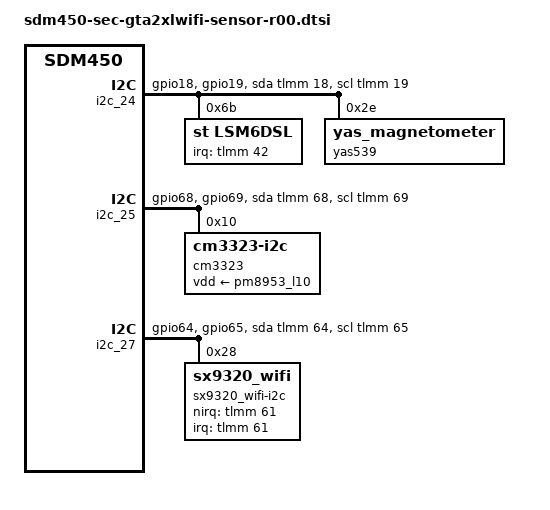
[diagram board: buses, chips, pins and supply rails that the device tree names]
/* Copyright (c) 2017, The Linux Foundation. All rights reserved.
 *
 * This program is free software; you can redistribute it and/or modify
 * it under the terms of the GNU General Public License version 2 and
 * only version 2 as published by the Free Software Foundation.
 *
 * This program is distributed in the hope that it will be useful,
 * but WITHOUT ANY WARRANTY; without even the implied warranty of
 * MERCHANTABILITY or FITNESS FOR A PARTICULAR PURPOSE.  See the
 * GNU General Public License for more details.
 */

&soc {
	tlmm: pinctrl@1000000 {
		acc_int: acc_int {
			mux {
				pins = "gpio42";
				function = "gpio";
			};
			config {
				pins = "gpio42";
				drive-strength = <2>;
				bias-disable;
			};
		};

		sensor_i2c: sensor_i2c {
			mux {
				pins = "gpio18", "gpio19";
				function = "gpio";
			};
			config {
				pins = "gpio18", "gpio19";
				drive-strength = <2>;
				bias-disable;
			};
		};

		light_i2c: light_i2c {
			mux {
				pins = "gpio68", "gpio69";
				function = "gpio";
			};
			config {
				pins = "gpio68", "gpio69";
				drive-strength = <2>;
				bias-disable;
			};
		};

		grip_wifi_int: grip_wifi_int {
			mux {
				pins = "gpio61";
				function = "gpio";
			};
			config {
				pins = "gpio61";
				drive-strength = <2>;
				bias-disable;
			};
		};

		grip_wifi_i2c: grip_wifi_i2c {
			mux {
				pins = "gpio64", "gpio65";
				function = "gpio";
			};
			config {
				pins = "gpio64", "gpio65";
				drive-strength = <2>;
				bias-disable;
			};
		};		
	};

	i2c_24: i2c@24 { /* SW I2C */
		cell-index = <24>;
		compatible = "i2c-gpio";
		gpios = <&tlmm 18 0 /* sda */
			&tlmm 19 0 /* scl */
		>;
		i2c-gpio,delay-us = <2>;
		#address-cells = <1>;
		#size-cells = <0>;
		pinctrl-names = "default";
		pinctrl-0 = <&sensor_i2c>;

		lsm6dsl@6b {
			compatible = "st,lsm6dsl";
			reg = <0x6b>;
			pinctrl-names = "default";
			pinctrl-0 = <&acc_int>;
			interrupt-parent = <&tlmm>;
			interrupts = <42 0>;
			st,orientation = <1 2 1 2 1 1 1 1 0>;
			st,drdy-int-pin = <1>;
			st,irq_gpio = <&tlmm 42 0x00>;
		};

		yas539@2e {
			compatible = "yas_magnetometer";
			reg = <0x2e>;
			yas,orientation = <5>;
			yas,softiron = <10200 200 80 200 9780 80 80 80 10020>;
			yas,softiron_sign = <2 2 0 2 2 0 0 0 2>;
		};
	};

	i2c_25: i2c@25 { /* SW I2C */
		cell-index = <25>;
		compatible = "i2c-gpio";
		gpios = <&tlmm 68 0 /* sda */
			&tlmm 69 0 /* scl */
		>;
		i2c-gpio,delay-us = <2>;
		#address-cells = <1>;
		#size-cells = <0>;
		pinctrl-names = "default";
		pinctrl-0 = <&light_i2c>;

		cm3323@10 {
			compatible = "cm3323-i2c";
			reg = <0x10>;
			cm3323-i2c,vdd-supply = <&pm8953_l10>;		
		};
	};

	i2c_27: i2c@27 { /* SW I2C */
		cell-index = <27>;
		compatible = "i2c-gpio";
		gpios = <&tlmm 64 0 /* sda */
			&tlmm 65 0 /* scl */
		>;
		i2c-gpio,delay-us = <2>;
		#address-cells = <1>;
		#size-cells = <0>;
		pinctrl-names = "default";
		pinctrl-0 = <&grip_wifi_i2c>;

		sx9320_wifi-i2c@28 {
			compatible = "sx9320_wifi";
			reg = <0x28>;
			pinctrl-names = "default";
			pinctrl-0 = <&grip_wifi_int>;
			interrupt-parent = <&tlmm>;
			interrupts = <61 0>;

			sx9320,nirq-gpio = <&tlmm 61 0x00>;
			/* only phase 3 enable */
			sx9320,phen = <0x03>;
			sx9320,gain = <0x01>;
			sx9320,again = <0x08>;
			sx9320,scan_period = <0x16>;
			sx9320,range = <0x00>;
			sx9320,sampling_freq = <0x00>;
			sx9320,resolution = <0x07>;
			sx9320,rawfilt = <0x01>;
			sx9320,hyst = <0x01>;
			sx9320,avgposfilt = <0x04>;
			sx9320,avgnegfilt = <0x01>;
			sx9320,avgthresh = <0x20>;
			sx9320,debouncer = <0x01>;
			sx9320,normal_thd = <0x1A>;
			sx9320,normal_thd_ta = <0x28>;
			sx9320,afeph0 = <0x00>;
			sx9320,afeph1 = <0x00>;
			sx9320,afeph2 = <0x00>;
			sx9320,afeph3 = <0x04>;			
		};
	};
};
